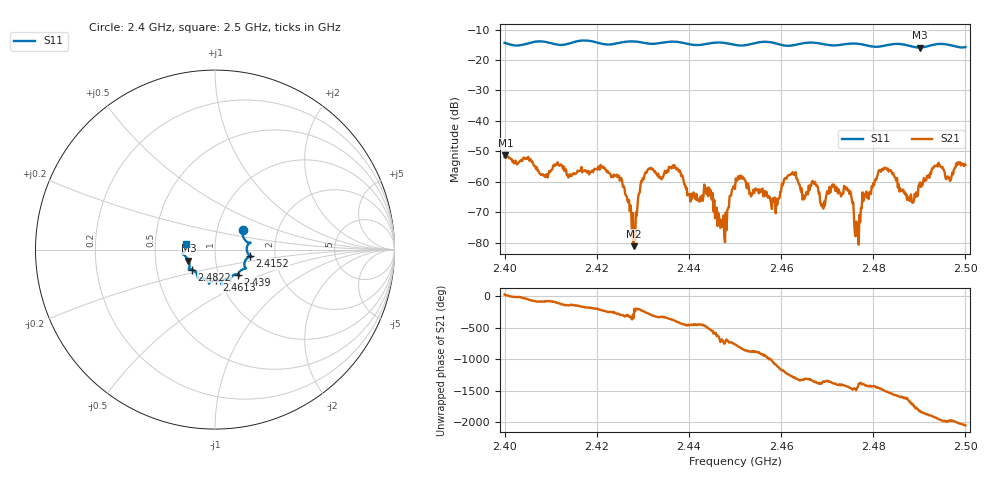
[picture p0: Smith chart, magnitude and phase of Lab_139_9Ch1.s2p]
# Hz S RI R 50
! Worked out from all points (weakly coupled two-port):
!   601 points, 2.4 GHz to 2.5 GHz, reference 50 ohm
!   highest |S21| = -51.35 dB at 2.4002 GHz (marker M1); lowest = -81.1 dB at 2.428 GHz (marker M2)
!   lowest |S11| = -15.9 dB at 2.4902 GHz (marker M3), VSWR 1.38, Z = 36.9 - j4.65 ohm
!   |S11| at or under -10 dB: start of sweep to end of sweep
!   S12 and S22 are empty: the file has one direction only
!   S11 on the Smith chart (normalised r, x): 2.4 GHz: 1.33, +0.31; 2.4152 GHz: 1.48, -0.11; 2.439 GHz: 1.24, -0.36; 2.4613 GHz: 0.96, -0.34; 2.4822 GHz: 0.76, -0.17; 2.5 GHz: 0.72, +0.05
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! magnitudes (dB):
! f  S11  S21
! 2.4 GHz  -14.4  -51.9
! 2.4002 GHz  -14.5  -51.3
! 2.4152 GHz  -14.1  -57.5
! 2.4167 GHz  -13.6  -55.1
! 2.4248 GHz  -14.4  -58.0
! 2.428 GHz  -13.9  -81.1
! 2.4302 GHz  -14.4  -59.2
! 2.4333 GHz  -14.5  -57.3
! 2.439 GHz  -14.5  -60.9
! 2.4442 GHz  -14.6  -64.7
! 2.4473 GHz  -14.3  -73.8
! 2.45 GHz  -15.0  -62.3
! 2.4583 GHz  -14.4  -66.6
! 2.4613 GHz  -15.3  -58.4
! 2.4667 GHz  -14.3  -60.1
! 2.469 GHz  -14.7  -67.3
! 2.4742 GHz  -14.8  -62.5
! 2.4763 GHz  -14.6  -73.1
! 2.4822 GHz  -15.4  -56.2
! 2.4833 GHz  -15.0  -56.7
! 2.4902 GHz  -15.9  -60.2
! 2.5 GHz  -15.8  -54.5
